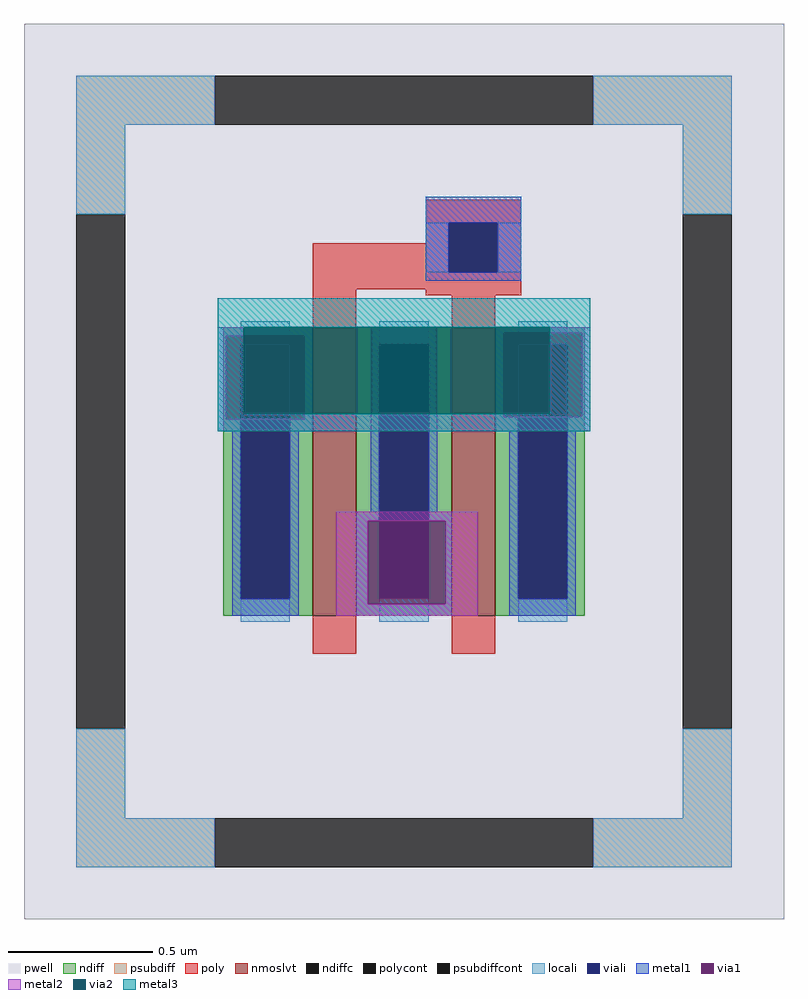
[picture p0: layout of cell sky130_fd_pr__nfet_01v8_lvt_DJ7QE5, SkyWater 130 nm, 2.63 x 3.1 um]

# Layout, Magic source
magic
tech sky130A
<< pwell >>
rect -132 -155 131 155
<< nmoslvt >>
rect -32 -50 -17 50
rect 16 -50 31 50
<< ndiff >>
rect -63 44 -32 50
rect -63 -44 -57 44
rect -40 -44 -32 44
rect -63 -50 -32 -44
rect -17 44 16 50
rect -17 -44 -9 44
rect 8 -44 16 44
rect -17 -50 16 -44
rect 31 44 62 50
rect 31 -44 39 44
rect 56 -44 62 44
rect 31 -50 62 -44
<< ndiffc >>
rect -57 -44 -40 44
rect -9 -44 8 44
rect 39 -44 56 44
<< psubdiff >>
rect -114 120 -66 137
rect 65 120 113 137
rect -114 89 -97 120
rect 96 89 113 120
rect -114 -120 -97 -89
rect 96 -120 113 -89
rect -114 -137 -66 -120
rect 65 -137 113 -120
<< psubdiffcont >>
rect -66 120 65 137
rect -114 -89 -97 89
rect 96 -89 113 89
rect -66 -137 65 -120
<< poly >>
rect 7 86 40 94
rect 7 79 15 86
rect -32 69 15 79
rect 32 69 40 86
rect -32 63 40 69
rect -32 50 -17 63
rect 7 61 40 63
rect 16 50 31 61
rect -32 -63 -17 -50
rect 16 -63 31 -50
<< polycont >>
rect 15 69 32 86
<< locali >>
rect -114 120 -66 137
rect 65 120 113 137
rect -114 89 -97 120
rect 96 89 113 120
rect 7 69 15 86
rect 32 69 40 86
rect -57 44 -40 52
rect -57 -52 -40 -44
rect -9 44 8 52
rect -9 -52 8 -44
rect 39 44 56 52
rect 39 -52 56 -44
rect -114 -120 -97 -89
rect 96 -120 113 -89
rect -114 -137 -66 -120
rect 65 -137 113 -120
<< viali >>
rect 15 69 32 86
rect -57 -44 -40 44
rect -9 -44 8 44
rect 39 -44 56 44
<< metal1 >>
rect 7 86 40 95
rect 7 69 15 86
rect 32 69 40 86
rect 7 66 40 69
rect -65 47 -32 50
rect -65 18 -62 47
rect -35 18 -32 47
rect -65 14 -57 18
rect -60 -44 -57 14
rect -40 14 -32 18
rect -12 44 11 50
rect -40 -44 -37 14
rect -12 -14 -9 44
rect -60 -50 -37 -44
rect -17 -17 -9 -14
rect 8 -14 11 44
rect 31 48 64 50
rect 31 19 34 48
rect 61 19 64 48
rect 31 14 39 19
rect 8 -17 16 -14
rect -17 -46 -13 -17
rect 14 -46 16 -17
rect -17 -50 16 -46
rect 36 -44 39 14
rect 56 14 64 19
rect 56 -44 59 14
rect 36 -50 59 -44
<< via1 >>
rect -62 44 -35 47
rect -62 18 -57 44
rect -57 18 -40 44
rect -40 18 -35 44
rect 34 44 61 48
rect 34 19 39 44
rect 39 19 56 44
rect 56 19 61 44
rect -13 -44 -9 -17
rect -9 -44 8 -17
rect 8 -44 14 -17
rect -13 -46 14 -44
<< metal2 >>
rect -63 47 -56 50
rect 50 48 64 50
rect -63 18 -62 47
rect -35 19 34 20
rect 61 19 64 48
rect -35 18 64 19
rect -63 14 64 18
rect -24 -17 25 -14
rect -24 -46 -13 -17
rect 14 -46 25 -17
rect -24 -50 25 -46
<< via2 >>
rect -56 48 50 50
rect -56 47 34 48
rect -56 20 -35 47
rect -35 20 34 47
rect 34 20 50 48
<< metal3 >>
rect -65 50 64 60
rect -65 20 -56 50
rect 50 20 64 50
rect -65 14 64 20
<< properties >>
string FIXED_BBOX -105 -128 105 128
string gencell sky130_fd_pr__nfet_01v8_lvt
string library sky130
string parameters w 1.0 l 0.15 m 1 nf 2 diffcov 100 polycov 100 guard 1 glc 1 grc 1 gtc 1 gbc 1 tbcov 100 rlcov 100 topc 1 botc 1 poverlap 0 doverlap 1 lmin 0.15 wmin 0.42 compatible {sky130_fd_pr__nfet_01v8 sky130_fd_pr__nfet_01v8_lvt  sky130_fd_bs_flash__special_sonosfet_star  sky130_fd_pr__nfet_g5v0d10v5 sky130_fd_pr__nfet_05v0_nvt  sky130_fd_pr__nfet_03v3_nvt} full_metal 1 viasrc 100 viadrn 100 viagate 100 viagb 0 viagr 0 viagl 0 viagt 0
<< end >>
